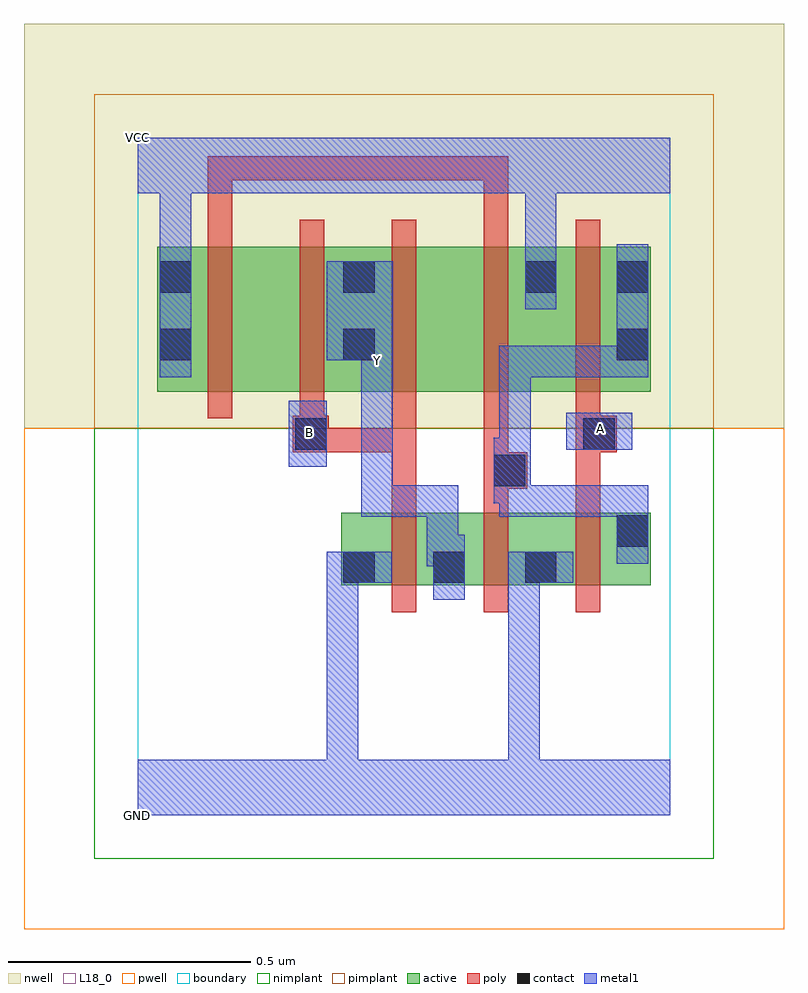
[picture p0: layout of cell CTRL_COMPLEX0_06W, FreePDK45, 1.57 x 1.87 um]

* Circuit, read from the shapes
.subckt CTRL_COMPLEX0_06W A B GND VCC Y
M1 Y B GND VSUBS nfet w=0.15u l=0.05u
M2 GND n1 Y VSUBS nfet w=0.15u l=0.05u
M3 n1 A GND VSUBS nfet w=0.15u l=0.05u
M4 n2 n1 VCC n3 pfet w=0.3u l=0.05u
M5 Y B n2 n3 pfet w=0.3u l=0.05u
M6 n4 B Y n3 pfet w=0.3u l=0.05u
M7 VCC n1 n4 n3 pfet w=0.3u l=0.05u
M8 n1 A VCC n3 pfet w=0.3u l=0.05u
.ends

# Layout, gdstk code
import gdstk
lib = gdstk.Library(unit=1e-6, precision=1e-09)
def R(c, l, rs):  # rectangles x0, y0, x1, y1
    for r in rs: c.add(gdstk.rectangle(r[:2], r[2:], *l))
def A(c, l, x, y, w, h, nx, ny, dx, dy):  # array of equal rectangles
    R(c, l, [(x+i*dx, y+j*dy, x+i*dx+w, y+j*dy+h) for i in range(nx) for j in range(ny)])
active = (1, 0)
pwell = (2, 0)
nwell = (3, 0)
nimplant = (4, 0)
pimplant = (5, 0)
poly = (9, 0)
contact = (10, 0)
metal1 = (11, 0)
L18_0 = (18, 0)
boundary = (235, 0)

ctrl_complex0_06w = lib.new_cell('CTRL_COMPLEX0_06W')
R(ctrl_complex0_06w, active, [(0.42,0.475,0.495,0.625), (0.42,0.475,0.68,0.625), (0.605,0.475,0.68,0.625), (0.605,0.475,0.87,0.625), (0.795,0.475,1.06,0.625), (0.795,0.475,0.87,0.55), (0.985,0.475,1.06,0.625), (0.04,0.875,0.115,1.175), (0.04,0.875,0.265,1.175), (0.265,0.875,0.495,1.175), (0.42,0.875,0.495,1.175), (0.42,0.875,0.645,1.175), (0.645,0.875,0.87,1.175), (0.795,0.875,1.06,1.175), (0.795,0.875,0.87,1.175), (0.985,0.875,1.06,1.165)])
R(ctrl_complex0_06w, pwell, [(-0.235,-0.235,1.335,0.8)])
R(ctrl_complex0_06w, nwell, [(-0.235,0.8,1.335,1.635)])
R(ctrl_complex0_06w, nimplant, [(-0.09,-0.09,1.19,0.8)])
R(ctrl_complex0_06w, pimplant, [(-0.09,0.8,1.19,1.49)])
A(ctrl_complex0_06w, poly, 0.525, 0.42, 0.05, 0.26, 3, 1, 0.19, 0)
A(ctrl_complex0_06w, poly, 0.145, 0.82, 0.05, 0.41, 5, 1, 0.19, 0)
R(ctrl_complex0_06w, poly, [(0.525,0.63,0.575,0.8), (0.715,0.63,0.765,0.725), (0.905,0.63,0.955,0.8), (0.715,0.675,0.805,0.75), (0.715,0.7,0.765,0.87), (0.32,0.75,0.395,0.825), (0.345,0.75,0.575,0.8), (0.525,0.75,0.575,0.8), (0.525,0.75,0.575,0.8), (0.525,0.75,0.575,0.8), (0.525,0.75,0.575,0.87), (0.905,0.75,0.99,0.825), (0.335,0.775,0.385,0.87), (0.905,0.775,0.955,0.87), (0.145,1.18,0.195,1.362), (0.715,1.18,0.765,1.362), (0.145,1.312,0.195,1.362), (0.145,1.312,0.195,1.362), (0.145,1.312,0.195,1.362), (0.145,1.312,0.395,1.362), (0.345,1.312,0.395,1.362), (0.345,1.312,0.527,1.362), (0.477,1.312,0.527,1.362), (0.477,1.312,0.527,1.362), (0.477,1.312,0.527,1.362), (0.477,1.312,0.765,1.362), (0.715,1.312,0.765,1.362), (0.715,1.312,0.765,1.362), (0.715,1.312,0.765,1.362)])
R(ctrl_complex0_06w, contact, [(0.425,0.48,0.49,0.545), (0.61,0.48,0.675,0.545), (0.8,0.48,0.865,0.545), (0.99,0.555,1.055,0.62), (0.735,0.68,0.8,0.745), (0.325,0.755,0.39,0.82), (0.92,0.755,0.985,0.82), (0.045,0.94,0.11,1.005), (0.425,0.94,0.49,1.005), (0.99,0.94,1.055,1.005), (0.045,1.08,0.11,1.145), (0.425,1.08,0.49,1.145), (0.8,1.08,0.865,1.145), (0.99,1.08,1.055,1.145)])
R(ctrl_complex0_06w, metal1, [(0,0,1.1,0.115), (0.39,0.05,0.455,0.442), (0.765,0.05,0.83,0.115), (0.765,0.05,0.83,0.115), (0.765,0.05,0.83,0.115), (0.765,0.05,0.83,0.115), (0.765,0.05,0.83,0.115), (0.765,0.05,0.83,0.115), (0.765,0.05,0.83,0.115), (0.765,0.05,0.83,0.115), (0.765,0.05,0.83,0.545), (0.39,0.377,0.455,0.442), (0.39,0.377,0.455,0.442), (0.39,0.377,0.455,0.442), (0.39,0.377,0.455,0.442), (0.39,0.377,0.455,0.52), (0.61,0.445,0.675,0.58), (0.39,0.455,0.455,0.52), (0.39,0.455,0.455,0.545), (0.39,0.48,0.455,0.545), (0.39,0.48,0.525,0.545), (0.765,0.48,0.9,0.545), (0.597,0.515,0.675,0.58), (0.597,0.515,0.662,0.682), (0.99,0.52,1.055,0.655), (0.99,0.59,1.055,0.655), (0.99,0.59,1.055,0.682), (0.462,0.617,0.527,0.682), (0.462,0.617,0.662,0.682), (0.462,0.617,0.527,0.937), (0.747,0.617,0.812,0.682), (0.747,0.617,1.055,0.682), (0.747,0.617,0.812,0.722), (0.735,0.645,0.8,0.78), (0.735,0.657,0.812,0.722), (0.747,0.657,0.812,0.722), (0.747,0.657,0.812,0.97), (0.312,0.72,0.39,0.857), (0.885,0.755,1.022,0.832), (0.462,0.872,0.527,1.007), (0.045,0.905,0.11,1.18), (0.747,0.905,0.812,0.97), (0.747,0.905,1.055,0.97), (0.99,0.905,1.055,0.97), (0.99,0.905,1.055,0.97), (0.99,0.905,1.055,1.18), (0.39,0.94,0.527,1.145), (0.462,0.94,0.527,1.005), (0.8,1.045,0.865,1.18), (0.045,1.115,0.11,1.35), (0.8,1.115,0.865,1.35), (0,1.285,1.1,1.4), (0.045,1.285,0.11,1.35), (0.045,1.285,0.11,1.35), (0.8,1.285,0.865,1.35), (0.8,1.285,0.865,1.35)])
R(ctrl_complex0_06w, L18_0, [(0,0,1.1,0.115), (0.39,0.05,0.455,0.442), (0.765,0.05,0.83,0.115), (0.765,0.05,0.83,0.115), (0.765,0.05,0.83,0.115), (0.765,0.05,0.83,0.115), (0.765,0.05,0.83,0.115), (0.765,0.05,0.83,0.115), (0.765,0.05,0.83,0.115), (0.765,0.05,0.83,0.115), (0.765,0.05,0.83,0.545), (0.39,0.377,0.455,0.442), (0.39,0.377,0.455,0.442), (0.39,0.377,0.455,0.442), (0.39,0.377,0.455,0.442), (0.39,0.377,0.455,0.52), (0.61,0.445,0.675,0.58), (0.39,0.455,0.455,0.52), (0.39,0.455,0.455,0.545), (0.39,0.48,0.455,0.545), (0.39,0.48,0.525,0.545), (0.765,0.48,0.9,0.545), (0.597,0.515,0.662,0.682), (0.597,0.515,0.675,0.58), (0.462,0.617,0.527,0.682), (0.462,0.617,0.527,0.937), (0.462,0.617,0.662,0.682), (0.312,0.72,0.39,0.857), (0.885,0.755,1.022,0.832), (0.322,0.757,0.387,0.822), (0.922,0.767,0.987,0.832), (0.462,0.872,0.527,1.007), (0.045,0.905,0.11,1.18), (0.462,0.907,0.527,0.972), (0.39,0.94,0.527,1.145), (0.462,0.94,0.527,1.005), (0.8,1.045,0.865,1.18), (0.045,1.115,0.11,1.35), (0.8,1.115,0.865,1.35), (0,1.285,1.1,1.4), (0.045,1.285,0.11,1.35), (0.045,1.285,0.11,1.35), (0.8,1.285,0.865,1.35), (0.8,1.285,0.865,1.35)])
R(ctrl_complex0_06w, boundary, [(0,0,1.1,1.4)])
ctrl_complex0_06w.add(gdstk.Label('A', (0.955,0.8), layer=11, texttype=0))
ctrl_complex0_06w.add(gdstk.Label('B', (0.355,0.79), layer=11, texttype=0))
ctrl_complex0_06w.add(gdstk.Label('Y', (0.495,0.94), layer=11, texttype=0))
ctrl_complex0_06w.add(gdstk.Label('VCC', (0,1.4), layer=11, texttype=0))
ctrl_complex0_06w.add(gdstk.Label('GND', (0,0), layer=11, texttype=0))

lib.write_gds('CTRL_COMPLEX0_06W.gds')
